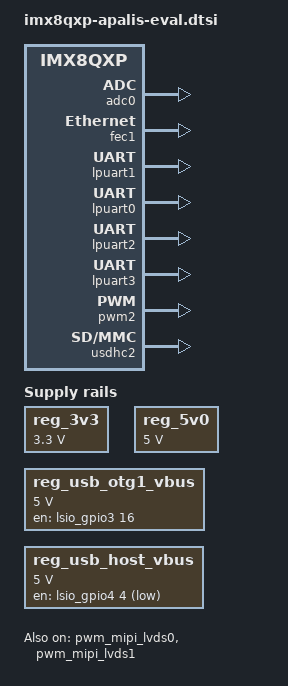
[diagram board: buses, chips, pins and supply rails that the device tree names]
// SPDX-License-Identifier: GPL-2.0+ OR X11
/*
 * Copyright 2019 Toradex
 */

/ {
	reg_3v3: regulator-3v3 {
		compatible = "regulator-fixed";
		regulator-name = "3.3V";
		regulator-min-microvolt = <3300000>;
		regulator-max-microvolt = <3300000>;
	};

	reg_5v0: regulator-5v0 {
		compatible = "regulator-fixed";
		regulator-name = "5V";
		regulator-min-microvolt = <5000000>;
		regulator-max-microvolt = <5000000>;
	};

	reg_usb_otg1_vbus: regulator@0 {
		compatible = "regulator-fixed";
		pinctrl-names = "default";
		pinctrl-0 = <&pinctrl_usbo1_en>;
		regulator-name = "usb_otg1_vbus";
		regulator-min-microvolt = <5000000>;
		regulator-max-microvolt = <5000000>;
		enable-active-high;
		/* Apalis USBO1_EN */
		gpio = <&lsio_gpio3 16 GPIO_ACTIVE_HIGH>;
	};

	reg_usb_host_vbus: regulator-usb-host-vbus {
		compatible = "regulator-fixed";
		pinctrl-names = "default";
		pinctrl-0 = <&pinctrl_usbh_en>;
		regulator-name = "usb_host_vbus_hub";
		regulator-min-microvolt = <5000000>;
		regulator-max-microvolt = <5000000>;
		/* Apalis USBH_EN */
		gpio = <&lsio_gpio4 4 GPIO_ACTIVE_HIGH>;
	};
};

&adc0 {
	status = "okay";
};

&fec1 {
	status = "okay";
};

/* Apalis UART1 */
&lpuart1 {
	status = "okay";
};

/* Apalis UART2 */
&lpuart0 {
	status = "okay";
};

/* Apalis UART3 */
&lpuart2 {
	status = "okay";
};

/* Apalis UART4 */
&lpuart3 {
	status = "okay";
};

/* Apalis PWM2 */
&pwm_mipi_lvds0 {
	status = "okay";
};

/* Apalis BKL1_PWM */
&pwm_mipi_lvds1 {
	status = "okay";
};

/* Apalis PWM1 */
&pwm2 {
	status = "okay";
};

/* Apalis MMC1 */
&usdhc2 {
	status = "okay";
};
